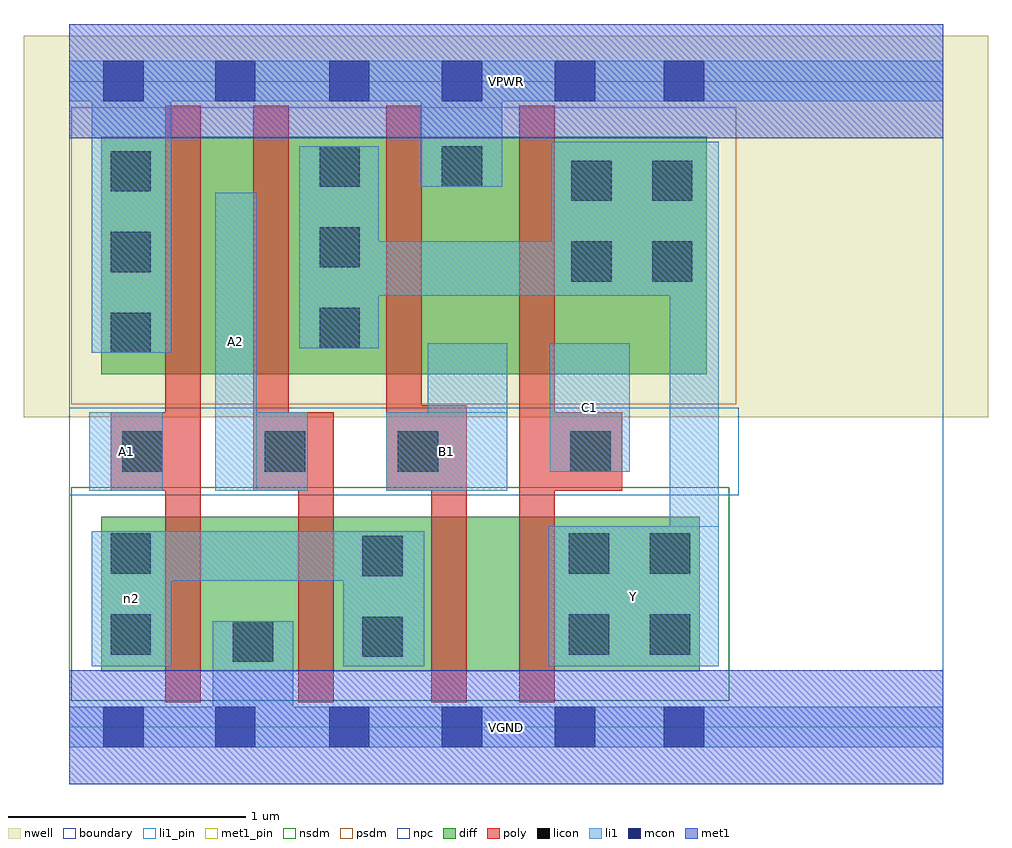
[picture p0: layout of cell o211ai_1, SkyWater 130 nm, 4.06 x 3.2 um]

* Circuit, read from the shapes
.subckt o211ai_1 A1 A2 B1 C1 VGND VPWR Y n2
XM1 VGND A1 n2 VSUBS sky130_fd_pr__nfet_01v8 w=0.65 l=0.15
XM2 n2 A2 VGND VSUBS sky130_fd_pr__nfet_01v8 w=0.65 l=0.15
XM3 n1 B1 n2 VSUBS sky130_fd_pr__nfet_01v8 w=0.65 l=0.15
XM4 Y C1 n1 VSUBS sky130_fd_pr__nfet_01v8 w=0.65 l=0.15
XM5 n3 A1 VPWR n4 sky130_fd_pr__pfet_01v8 w=1 l=0.15
XM6 Y A2 n3 n4 sky130_fd_pr__pfet_01v8 w=1 l=0.15
XM7 VPWR B1 Y n4 sky130_fd_pr__pfet_01v8 w=1 l=0.15
XM8 Y C1 VPWR n4 sky130_fd_pr__pfet_01v8 w=1 l=0.15
.ends

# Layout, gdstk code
import gdstk
lib = gdstk.Library(unit=1e-6, precision=1e-09)
def R(c, l, rs):  # rectangles x0, y0, x1, y1
    for r in rs: c.add(gdstk.rectangle(r[:2], r[2:], *l))
def A(c, l, x, y, w, h, nx, ny, dx, dy):  # array of equal rectangles
    R(c, l, [(x+i*dx, y+j*dy, x+i*dx+w, y+j*dy+h) for i in range(nx) for j in range(ny)])
nwell = (64, 20)
diff = (65, 20)
poly = (66, 20)
licon = (66, 44)
li1_pin = (67, 16)
li1 = (67, 20)
mcon = (67, 44)
met1_pin = (68, 16)
met1 = (68, 20)
nsdm = (93, 44)
psdm = (94, 20)
npc = (95, 20)
boundary = (235, 4)

o211ai_1 = lib.new_cell('o211ai_1')
R(o211ai_1, nwell, [(-0.19,1.305,3.87,2.91), (0,1.305,3.68,2.91)])
R(o211ai_1, diff, [(0.135,0.235,2.655,0.885), (0.135,1.485,2.685,2.485)])
R(o211ai_1, poly, [(0.405,0.105,0.555,2.615), (0.965,0.105,1.115,1.325), (1.525,0.105,1.675,1.355), (1.895,0.105,2.045,2.615), (0.175,0.995,0.555,1.325), (0.775,0.995,0.925,2.615), (0.775,0.995,1.115,1.325), (1.335,0.995,1.485,2.615), (1.335,0.995,1.675,1.355), (1.895,0.995,2.33,1.325)])
A(o211ai_1, licon, 0.175, 1.575, 0.17, 0.17, 1, 3, 0, 0.34)
A(o211ai_1, licon, 1.055, 1.595, 0.17, 0.17, 1, 3, 0, 0.34)
R(o211ai_1, licon, [(0.69,0.275,0.86,0.445), (1.235,0.295,1.405,0.465), (0.175,0.305,0.345,0.475), (2.105,0.305,2.275,0.475), (2.445,0.305,2.615,0.475), (1.235,0.635,1.405,0.805), (0.175,0.645,0.345,0.815), (2.105,0.645,2.275,0.815), (2.445,0.645,2.615,0.815), (0.225,1.075,0.395,1.245), (0.825,1.075,0.995,1.245), (1.385,1.075,1.555,1.245), (2.11,1.075,2.28,1.245), (2.115,1.875,2.285,2.045), (2.455,1.875,2.625,2.045), (2.115,2.215,2.285,2.385), (2.455,2.215,2.625,2.385), (1.57,2.275,1.74,2.445)])
R(o211ai_1, li1_pin, [(2.02,0.255,2.735,0.845), (0.085,0.995,0.395,1.325), (0.615,0.995,0.79,2.25), (1.335,0.995,1.845,1.325), (2.025,1.075,2.36,1.615)])
R(o211ai_1, li1, [(0,-0.085,3.68,0.085), (0.605,-0.085,0.945,0.445), (0.095,0.255,0.43,0.825), (1.155,0.255,1.495,0.825), (2.02,0.255,2.735,0.845), (2.53,0.255,2.735,2.465), (0.095,0.615,1.495,0.825), (0.085,0.995,0.395,1.325), (0.615,0.995,0.79,2.25), (0.615,0.995,1.005,1.325), (1.335,0.995,1.845,1.325), (1.51,0.995,1.845,1.615), (2.025,1.075,2.36,1.615), (0.095,1.575,0.43,2.805), (0.97,1.595,1.305,2.445), (0.97,1.815,2.735,2.045), (2.03,1.815,2.735,2.465), (1.48,2.275,1.825,2.805), (0,2.635,3.68,2.805)])
A(o211ai_1, mcon, 1.095, -0.085, 0.17, 0.17, 3, 2, 0.475, 2.72)
R(o211ai_1, mcon, [(0.145,-0.085,0.315,0.085), (0.615,-0.085,0.785,0.085), (2.505,-0.085,2.675,0.085), (0.145,2.635,0.315,2.805), (0.615,2.635,0.785,2.805), (2.505,2.635,2.675,2.805)])
R(o211ai_1, met1_pin, [(0,-0.24,3.68,0.24), (0,2.48,3.68,2.96)])
R(o211ai_1, met1, [(0,-0.24,3.68,0.24), (0,2.48,3.68,2.96)])
R(o211ai_1, nsdm, [(0.01,0.11,2.78,1.01)])
R(o211ai_1, psdm, [(0.01,1.36,2.81,2.61)])
R(o211ai_1, npc, [(0,0.975,2.82,1.345)])
R(o211ai_1, boundary, [(0,0,3.68,2.72)])
o211ai_1.add(gdstk.Label('A1', (0.24,1.16), layer=67, texttype=5))
o211ai_1.add(gdstk.Label('A2', (0.702,1.622), layer=67, texttype=5))
o211ai_1.add(gdstk.Label('B1', (1.59,1.16), layer=67, texttype=5))
o211ai_1.add(gdstk.Label('C1', (2.192,1.345), layer=67, texttype=5))
o211ai_1.add(gdstk.Label('Y', (2.377,0.55), layer=67, texttype=5))
o211ai_1.add(gdstk.Label('n2', (0.262,0.54), layer=67, texttype=5))
o211ai_1.add(gdstk.Label('VPWR', (1.84,2.72), layer=68, texttype=5))
o211ai_1.add(gdstk.Label('VGND', (1.84,0), layer=68, texttype=5))
o211ai_1.add(gdstk.Label('A1', (0.24,1.16), layer=67, texttype=16))
o211ai_1.add(gdstk.Label('A2', (0.702,1.622), layer=67, texttype=16))
o211ai_1.add(gdstk.Label('B1', (1.59,1.16), layer=67, texttype=16))
o211ai_1.add(gdstk.Label('C1', (2.192,1.345), layer=67, texttype=16))
o211ai_1.add(gdstk.Label('Y', (2.377,0.55), layer=67, texttype=16))
o211ai_1.add(gdstk.Label('VPWR', (1.84,2.72), layer=68, texttype=16))
o211ai_1.add(gdstk.Label('VGND', (1.84,0), layer=68, texttype=16))

lib.write_gds('o211ai_1.gds')
